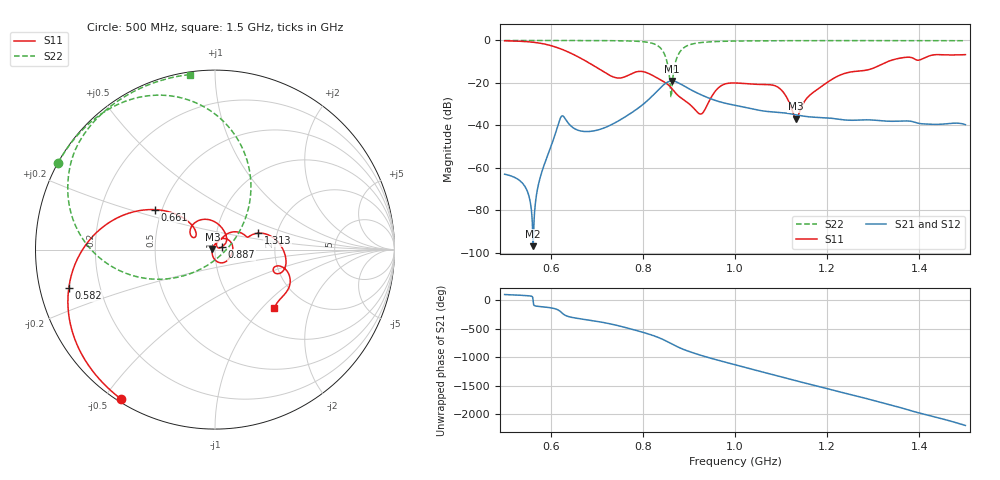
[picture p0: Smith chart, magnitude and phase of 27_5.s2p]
! TOUCHSTONE file generated by CST MICROWAVE STUDIO
! Date and time: Mon Oct 26 12:32:44 2020
! Project name: Scenario_1_Circular_Tissue_out_of_Line.cst
! Parameters = {dy1=104.866; L_HA=400; MT=2.54; Rad_Dielectric=30; Rad_Lower=7.3; Rad_Upper=30; a_HA=580; a_WG=246; b_HA=500; b_WG=121; c_HA=0; c_WG=187; d_feed=85; dx1=866; h_feed=15; h_lower=18; h_upper=40}
! Header version: 2018
! Port assignment regex: !\s*Touchstone port\s*([0-9]+)\s*=\s*(CST MWS port|CST DS port)\s*([0-9]+|Zmin|Zmax)\s*\(\"(.*)\"\)(\s*mode\s*([0-9]+))?.*
! Touchstone port assignment:
! Touchstone port 1 = CST MWS port 1 ("")
! Touchstone port 2 = CST MWS port 2 ("")
# GHz S DB R 50
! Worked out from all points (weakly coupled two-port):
!   1001 points, 500 MHz to 1.5 GHz, reference 50 ohm
!   highest |S21| = -19.09 dB at 863 MHz (marker M1); lowest = -96.8 dB at 562 MHz (marker M2)
!   lowest |S11| = -36.9 dB at 1.132 GHz (marker M3), VSWR 1.03, Z = 48.6 + j0.283 ohm
!   |S11| at or under -10 dB: 678.7 MHz to 1.331 GHz (652.3 MHz wide, 64.9 % of centre)
!   |S22| runs from -26.4 to 0.0 dB; largest |S21 - S12| = 1.9e-05
!   S11 on the Smith chart (normalised r, x): 500 MHz: 0.01, -0.55; 582 MHz: 0.09, -0.13; 661 MHz: 0.46, +0.24; 887 MHz: 1.08, +0.03; 1.313 GHz: 1.60, +0.31; 1.5 GHz: 1.42, -1.17
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0.5  -0.14 -122.3  -62.94 97.7  -62.94 97.7  -0.01 151.1
0.539  -0.45 -139.7  -67.25 83.3  -67.24 83.3  -0.01 148.5
0.562  -0.85 -152.7  -96.83 -15.1  -96.71 -14.3  -0.01 146.9
0.582  -1.50 -165.4  -61.05 -116.5  -61.06 -116.5  -0.02 145.5
0.623  -4.07 167.4  -35.79 147.0  -35.79 147.0  -0.02 142.3
0.661  -7.88 146.5  -42.38 37.5  -42.38 37.5  -0.04 139.0
0.667  -8.58 143.9  -42.69 30.4  -42.69 30.4  -0.04 138.4
0.739  -17.41 141.1  -38.84 -72.8  -38.84 -72.8  -0.12 129.7
0.78  -15.21 143.1  -33.38 -157.6  -33.38 -157.6  -0.31 121.0
0.834  -18.00 71.8  -23.17 65.7  -23.17 65.7  -2.74 87.5
0.863  -22.63 33.2  -19.09 -47.5  -19.09 -47.5  -23.20 -101.1
0.873  -25.22 26.3  -19.55 -88.2  -19.55 -88.2  -8.67 -153.4
0.887  -27.66 22.6  -21.13 -137.8  -21.13 -137.8  -3.78 -176.2
0.926  -34.66 46.0  -25.54 114.3  -25.54 114.3  -1.01 157.1
0.964  -22.30 53.9  -28.69 27.0  -28.69 27.0  -0.47 146.9
1  -20.02 5.5  -30.51 -50.8  -30.51 -50.8  -0.29 140.8
1.092  -21.85 -66.0  -33.81 115.7  -33.81 115.7  -0.14 130.7
1.132  -36.88 168.3  -34.99 29.9  -34.99 29.9  -0.11 127.3
1.167  -24.92 64.1  -36.07 -40.1  -36.07 -40.1  -0.10 124.4
1.313  -11.78 20.8  -37.72 16.8  -37.72 16.8  -0.09 113.3
1.334  -9.74 12.6  -38.03 -27.1  -38.03 -27.1  -0.09 111.7
1.5  -6.68 -44.4  -39.63 -32.3  -39.63 -32.3  -0.13 98.2
